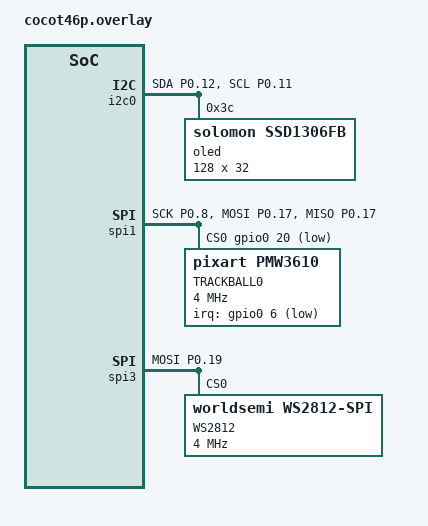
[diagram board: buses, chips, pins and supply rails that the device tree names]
#include <dt-bindings/led/led.h>
#include "cocot46p.dtsi"

/ {
    trackball_listener {
        compatible = "zmk,input-listener";
        device = <&trackball>;

    };
};

&pinctrl {
    i2c0_default: i2c0_default {
        group1 {
            psels = <NRF_PSEL(TWIM_SDA, 0, 12)>,
                <NRF_PSEL(TWIM_SCL, 0, 11)>;
        };
    };

    i2c0_sleep: i2c0_sleep {
        group1 {
            psels = <NRF_PSEL(TWIM_SDA, 0, 12)>,
                <NRF_PSEL(TWIM_SCL, 0, 11)>;
            low-power-enable;
        };
    };	

    spi1_default: spi1_default {
        group1 {
            psels = <NRF_PSEL(SPIM_SCK, 0, 8)>,
                <NRF_PSEL(SPIM_MOSI, 0, 17)>,
                <NRF_PSEL(SPIM_MISO, 0, 17)>;
        };
    };

    spi1_sleep: spi1_sleep {
        group1 {
            psels = <NRF_PSEL(SPIM_SCK, 0, 8)>,
                <NRF_PSEL(SPIM_MOSI, 0, 17)>,
                <NRF_PSEL(SPIM_MISO, 0, 17)>;
            low-power-enable;
        };
    };

    spi3_default: spi3_default {
        group1 {
            psels = <NRF_PSEL(SPIM_MOSI, 0, 19)>; // WS2812_VEXT_DATA
        };
    };

    spi3_sleep: spi3_sleep {
        group1 {
            psels = <NRF_PSEL(SPIM_MOSI, 0, 19)>;
            low-power-enable;
        };
    };
};

&i2c0 {
	status = "okay";
	compatible = "nordic,nrf-twi";
	pinctrl-0 = <&i2c0_default>;
	pinctrl-1 = <&i2c0_sleep>;
	oled: ssd1306@3c {
        compatible = "solomon,ssd1306fb";
        reg = <0x3c>;
        width = <128>;
        height = <32>;
        segment-offset = <0>;
        page-offset = <0>;
        display-offset = <0>;
        multiplex-ratio = <31>;
        segment-remap;
        com-invdir;
        com-sequential;
        inversion-on;
        prechargep = <0x22>;
	};
};

&uart0 {
	status = "disabled";
};
&spi1 {
	compatible = "nordic,nrf-spim";
	status = "okay";
    pinctrl-0 = <&spi1_default>;
	pinctrl-1 = <&spi1_sleep>;
	pinctrl-names = "default", "sleep";
	cs-gpios = <&gpio0 20 GPIO_ACTIVE_LOW>;
	trackball: trackball@0 {
		compatible = "pixart,pmw3610";
		status = "okay";
		label = "TRACKBALL0";
		reg = <0>;
		spi-max-frequency = <4000000>;
	    irq-gpios = <&gpio0 6 (GPIO_ACTIVE_LOW | GPIO_PULL_UP)>;
	    /*automouse_layer*/
        /*automouse-layer = <2>;*/
        /*scroll_layer*/
        scroll-layers = <1>;
        /*snipe_layer*/
        snipe-layers = <4>;
	};
};

&spi3 {
	compatible = "nordic,nrf-spim";
	status = "okay";
	pinctrl-0 = <&spi3_default>;
	pinctrl-1 = <&spi3_sleep>;
	pinctrl-names = "default", "sleep";
	led_strip: ws2812@0 {
		compatible = "worldsemi,ws2812-spi";
		label = "WS2812";
		/* SPI */
		reg = <0>; /* ignored, but necessary for SPI bindings */
		spi-max-frequency = <4000000>;
		/* WS2812 */
		chain-length = <2>; /* There are per-key RGB, but the first 6 are underglow */
		spi-one-frame = <0x70>;
		spi-zero-frame = <0x40>;
		color-mapping = <LED_COLOR_ID_GREEN LED_COLOR_ID_RED LED_COLOR_ID_BLUE>;
	};
};
